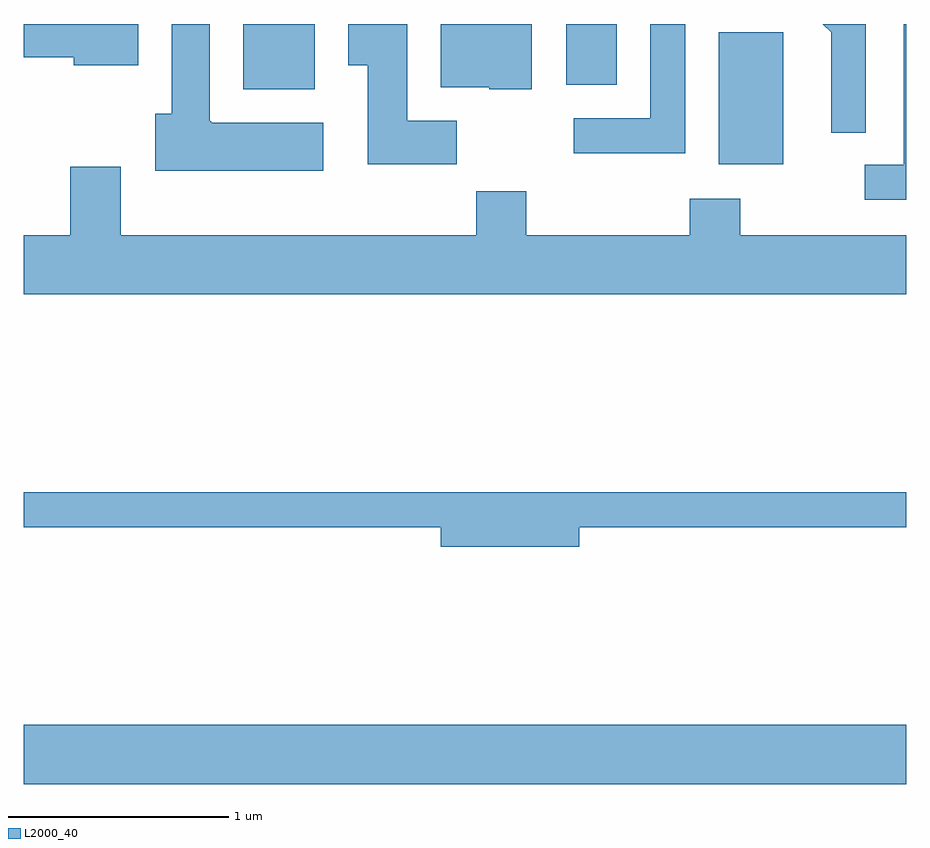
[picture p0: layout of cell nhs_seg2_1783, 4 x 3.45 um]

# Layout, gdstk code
import gdstk
lib = gdstk.Library(unit=1e-6, precision=1e-09)
def R(c, l, rs):  # rectangles x0, y0, x1, y1
    for r in rs: c.add(gdstk.rectangle(r[:2], r[2:], *l))
def P(c, l, *ps):  # polygons
    for p in ps: c.add(gdstk.Polygon(p, *l))
L2000_40 = (2000, 40)

nhs_seg2_1783 = lib.new_cell('nhs_seg2_1783')
R(nhs_seg2_1783, L2000_40, [(237.611,1008.356,241.611,1008.624), (240.761,1011.166,241.054,1011.764), (238.606,1011.506,238.929,1011.802), (240.071,1011.526,240.299,1011.802)])
P(nhs_seg2_1783, L2000_40, [(240.609,1011.802),(240.451,1011.802),(240.451,1011.374),(240.103,1011.374),(240.103,1011.216),(240.609,1011.216)],
  [(241.429,1011.802),(241.233,1011.802),(241.271,1011.764),(241.271,1011.308),(241.429,1011.308)],
  [(239.914,1011.802),(239.501,1011.802),(239.501,1011.516),(239.72,1011.516),(239.72,1011.506),(239.914,1011.506)],
  [(241.611,1011.802),(241.601,1011.802),(241.601,1011.164),(241.423,1011.164),(241.423,1011.006),(241.611,1011.006)],
  [(238.129,1011.802),(237.611,1011.802),(237.611,1011.651),(237.836,1011.651),(237.836,1011.616),(238.129,1011.616)],
  [(239.574,1011.364),(239.349,1011.364),(239.349,1011.802),(239.081,1011.802),(239.081,1011.616),(239.171,1011.616),(239.171,1011.166),(239.574,1011.166)],
  [(238.969,1011.354),(238.46,1011.354),(238.46,1011.36),(238.454,1011.36),(238.454,1011.802),(238.281,1011.802),(238.281,1011.394),(238.206,1011.394),(238.206,1011.136),(238.969,1011.136)],
  [(241.611,1010.844),(240.859,1010.844),(240.859,1011.009),(240.631,1011.009),(240.631,1010.844),(239.889,1010.844),(239.889,1011.044),(239.661,1011.044),(239.661,1010.844),(238.049,1010.844),(238.049,1011.154),(237.821,1011.154),(237.821,1010.844),(237.611,1010.844),(237.611,1010.576),(241.611,1010.576)],
  [(240.129,1009.521),(241.611,1009.521),(241.611,1009.679),(237.611,1009.679),(237.611,1009.521),(239.501,1009.521),(239.501,1009.431),(240.129,1009.431)])

lib.write_gds('nhs_seg2_1783.gds')
